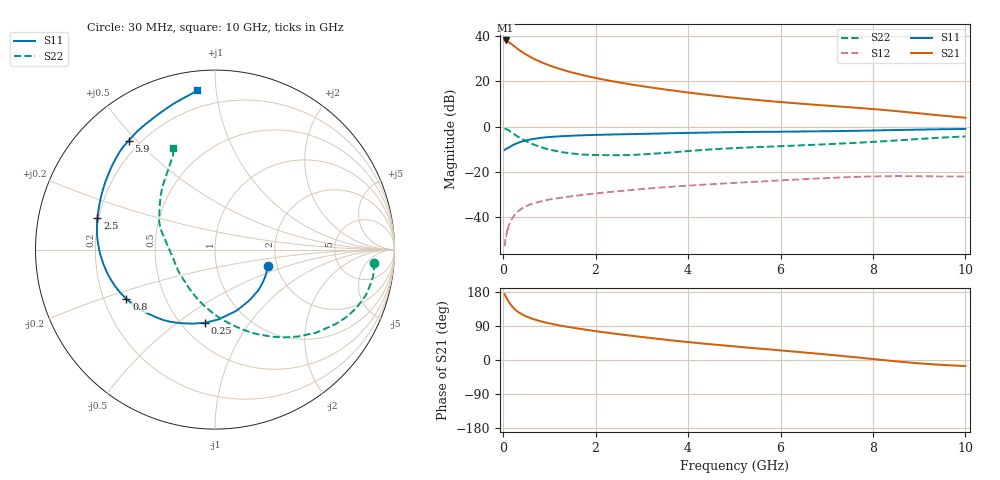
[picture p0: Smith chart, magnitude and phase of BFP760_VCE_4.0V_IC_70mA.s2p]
! Infineon Technologies  Discrete & RF Semiconductors
! BFP760
! VCE =  4.0 V,  IC =  70 mA
! Common Emitter S-Parameters:  Nov 2012
# GHz  S  MA  R  50
!  f  S11  S21  S12  S22
! GHz  MAG  ANG  MAG  ANG  MAG  ANG  MAG  ANG
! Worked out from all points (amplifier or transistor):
!   99 points, 30 MHz to 10 GHz, reference 50 ohm
!   highest |S21| = 38.1 dB at 50 MHz (marker M1)
!   |S21| within 3 dB of that: start of sweep to 269.2 MHz
!   unconditionally stable (mu >= 1): 3.256 GHz to end of sweep
!   at 350 MHz: K = 0.47, MSG = 35.4 dB, |S12| = -36.9 dB
!   at 3.5 GHz: K = 1.01, MAG = 20.9 dB, |S12| = -26.7 dB
!   at 10 GHz: K = 1.03, MAG = 11.9 dB, |S12| = -22.0 dB
!   S11 on the Smith chart (normalised r, x): 30 MHz: 1.78, -0.36; 250 MHz: 0.65, -0.64; 800 MHz: 0.29, -0.24; 2.5 GHz: 0.19, +0.13; 5.9 GHz: 0.16, +0.47; 10 GHz: 0.10, +0.89
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0.03  0.3067 -17.3  79.91 173.7  0.0023 83.4  0.8892 -4.8
0.04  0.313 -22.8  79.86 171.6  0.0027 72.0  0.893 -7.5
0.05  0.3185 -28.6  80.42 168.5  0.0038 62.7  0.8931 -10.1
0.07  0.3263 -38.6  79.45 163.9  0.0042 71.7  0.8822 -14.9
0.1  0.3379 -52.6  76.25 157.4  0.0053 67.4  0.8552 -21.7
0.15  0.3623 -71.9  70.65 148.0  0.0078 63.4  0.7916 -31.5
0.2  0.3887 -86.7  64.51 140.3  0.0097 61.7  0.7286 -39.5
0.25  0.412 -97.9  58.99 134.0  0.0113 60.3  0.6698 -46.3
0.3  0.4318 -107.2  53.78 128.8  0.0129 58.0  0.6204 -52.1
0.35  0.4518 -114.8  49.16 124.5  0.0143 55.3  0.5764 -57.2
0.45  0.4868 -126.2  41.95 117.7  0.0166 53.4  0.5063 -66.2
0.6  0.5261 -138.9  34.19 110.1  0.0195 49.4  0.4287 -77.5
0.8  0.5655 -150.8  27.25 102.5  0.0223 46.3  0.3597 -90.7
1.1  0.6025 -163.5  20.77 94.0  0.0256 43.7  0.2964 -107.7
1.7  0.6455 179.9  13.96 81.5  0.0311 42.4  0.2441 -134.0
2.5  0.6784 164.9  9.543 68.1  0.0377 42.0  0.2349 -160.1
3.4  0.7092 151.4  6.876 55.1  0.0453 40.5  0.2595 177.6
5.1  0.7626 133.7  4.259 34.8  0.0581 36.0  0.3412 155.0
5.9  0.7744 128.4  3.577 26.4  0.0643 33.7  0.3676 147.4
6.7  0.7902 122.6  3.082 17.9  0.0711 30.2  0.3982 140.6
8.5  0.8456 105.7  2.218 -3.6  0.0811 18.2  0.4962 123.1
10  0.8928 96.4  1.58 -15.9  0.0797 12.5  0.6104 112.3
